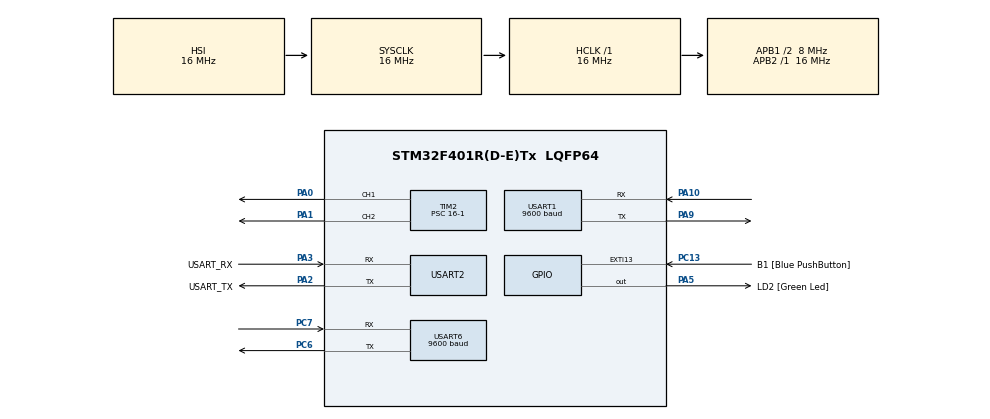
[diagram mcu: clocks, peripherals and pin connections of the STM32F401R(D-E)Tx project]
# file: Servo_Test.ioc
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Mcu.Family=STM32F4
Mcu.Name=STM32F401R(D-E)Tx
Mcu.Package=LQFP64
NVIC.PriorityGroup=NVIC_PRIORITYGROUP_0
PA0-WKUP.Signal=S_TIM2_CH1_ETR
PA1.Signal=S_TIM2_CH2
PA10.Mode=Asynchronous
PA10.Signal=USART1_RX
PA13.GPIO_Label=TMS
PA13.Mode=Serial_Wire
PA13.Signal=SYS_JTMS-SWDIO
PA14.GPIO_Label=TCK
PA14.Mode=Serial_Wire
PA14.Signal=SYS_JTCK-SWCLK
PA2.GPIO_Label=USART_TX
PA2.GPIO_Mode=GPIO_MODE_AF_PP
PA2.GPIO_PuPd=GPIO_NOPULL
PA2.GPIO_Speed=GPIO_SPEED_FREQ_LOW
PA2.Mode=Asynchronous
PA2.Signal=USART2_TX
PA3.GPIO_Label=USART_RX
PA3.GPIO_Mode=GPIO_MODE_AF_PP
PA3.GPIO_PuPd=GPIO_NOPULL
PA3.GPIO_Speed=GPIO_SPEED_FREQ_LOW
PA3.Mode=Asynchronous
PA3.Signal=USART2_RX
PA5.GPIO_Label=LD2 [Green Led]
PA5.GPIO_Mode=GPIO_MODE_OUTPUT_PP
PA5.GPIO_PuPd=GPIO_NOPULL
PA5.GPIO_Speed=GPIO_SPEED_FREQ_LOW
PA5.Signal=GPIO_Output
PA9.Mode=Asynchronous
PA9.Signal=USART1_TX
PB3.GPIO_Label=SWO
PB3.Signal=SYS_JTDO-SWO
PC13-ANTI_TAMP.GPIO_Label=B1 [Blue PushButton]
PC13-ANTI_TAMP.GPIO_ModeDefaultEXTI=GPIO_MODE_IT_FALLING
PC13-ANTI_TAMP.GPIO_PuPd=GPIO_NOPULL
PC13-ANTI_TAMP.Signal=GPXTI13
PC14-OSC32_IN.Mode=LSE-External-Oscillator
PC14-OSC32_IN.Signal=RCC_OSC32_IN
PC15-OSC32_OUT.Mode=LSE-External-Oscillator
PC15-OSC32_OUT.Signal=RCC_OSC32_OUT
PC6.Mode=Asynchronous
PC6.Signal=USART6_TX
PC7.Mode=Asynchronous
PC7.Signal=USART6_RX
PH0\ -\ OSC_IN.Mode=HSE-External-Clock-Source
PH0\ -\ OSC_IN.Signal=RCC_OSC_IN
PH1\ -\ OSC_OUT.Mode=HSE-External-Clock-Source
PH1\ -\ OSC_OUT.Signal=RCC_OSC_OUT
ProjectManager.HeapSize=0x200
ProjectManager.StackSize=0x400
ProjectManager.TargetToolchain=STM32CubeIDE
RCC.48MHZClocksFreq_Value=48000000
RCC.AHBFreq_Value=16000000
RCC.APB1CLKDivider=RCC_HCLK_DIV2
RCC.APB1Freq_Value=8000000
RCC.APB1TimFreq_Value=16000000
RCC.APB2Freq_Value=16000000
RCC.APB2TimFreq_Value=16000000
RCC.CortexFreq_Value=16000000
RCC.HCLKFreq_Value=16000000
RCC.HSE_VALUE=8000000
RCC.HSI_VALUE=16000000
RCC.PLLN=336
RCC.PLLP=RCC_PLLP_DIV4
RCC.PLLQ=7
RCC.SYSCLKFreq_VALUE=16000000
RCC.VCOOutputFreq_Value=336000000
SH.S_TIM2_CH1_ETR.0=TIM2_CH1,PWM Generation1 CH1
SH.S_TIM2_CH2.0=TIM2_CH2,PWM Generation2 CH2
TIM2.AutoReloadPreload=TIM_AUTORELOAD_PRELOAD_ENABLE
TIM2.Channel-PWM\ Generation1\ CH1=TIM_CHANNEL_1
TIM2.Channel-PWM\ Generation2\ CH2=TIM_CHANNEL_2
TIM2.Period=20000-1
TIM2.Prescaler=16-1
TIM2.Pulse-PWM\ Generation1\ CH1=500-1
TIM2.Pulse-PWM\ Generation2\ CH2=2500-1
USART1.BaudRate=9600
USART1.VirtualMode=VM_ASYNC
USART2.VirtualMode=VM_ASYNC
USART6.BaudRate=9600
USART6.VirtualMode=VM_ASYNC
VP_TIM2_VS_ClockSourceINT.Mode=Internal
board=NUCLEO-F401RE

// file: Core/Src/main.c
/* USER CODE BEGIN Header */
/**
  ******************************************************************************
  * @file           : main.c
  * @brief          : Main program body
  ******************************************************************************
  * @attention
  *
  * Copyright (c) 2022 STMicroelectronics.
  * All rights reserved.
  *
  * This software is licensed under terms that can be found in the LICENSE file
  * in the root directory of this software component.
  * If no LICENSE file comes with this software, it is provided AS-IS.
  *
  ******************************************************************************
  */
/* USER CODE END Header */
#include "main.h"

TIM_HandleTypeDef htim2;

UART_HandleTypeDef huart1;
UART_HandleTypeDef huart2;
UART_HandleTypeDef huart6;

void SystemClock_Config(void);
static void MX_GPIO_Init(void);
static void MX_USART2_UART_Init(void);
static void MX_TIM2_Init(void);
static void MX_USART1_UART_Init(void);
static void MX_USART6_UART_Init(void);

int main(void)
{

  /* MCU Configuration--------------------------------------------------------*/

  /* Reset of all peripherals, Initializes the Flash interface and the Systick. */
  HAL_Init();

  /* Configure the system clock */
  SystemClock_Config();

  /* Initialize all configured peripherals */
  MX_GPIO_Init();
  MX_USART2_UART_Init();
  MX_TIM2_Init();
  MX_USART1_UART_Init();
  MX_USART6_UART_Init();
  /* USER CODE BEGIN 2 */
  int TIM2_Ch1_DCVAL = 500;
  int TIM2_Ch2_DCVAL = 2500;

  HAL_TIM_Base_Start(&htim2);
  HAL_TIM_PWM_Start(&htim2, TIM_CHANNEL_1);
  HAL_TIM_PWM_Start(&htim2, TIM_CHANNEL_2);

  TIM2->PSC = 16-1;
  TIM2->ARR = 20000-1;
  TIM2->CCR1 = TIM2_Ch1_DCVAL;
  TIM2->CCR2 = TIM2_Ch2_DCVAL;
  /* USER CODE END 2 */

  /* Infinite loop */
  /* USER CODE BEGIN WHILE */
  while (1)
  {
	  while(TIM2_Ch1_DCVAL < 2500) {
		  TIM2_Ch1_DCVAL += (20);
		  TIM2_Ch2_DCVAL -= (20);
		  TIM2->CCR1 = TIM2_Ch1_DCVAL;
		  TIM2->CCR2 = TIM2_Ch2_DCVAL;
		  HAL_GPIO_TogglePin(GPIOA, LD2_Pin);
		  HAL_Delay(500);
	  }
	  while(TIM2_Ch1_DCVAL > 500) {
		  TIM2_Ch1_DCVAL -= (20);
		  TIM2_Ch2_DCVAL += (20);
		  TIM2->CCR1 = TIM2_Ch1_DCVAL;
		  TIM2->CCR2 = TIM2_Ch2_DCVAL;
		  HAL_GPIO_TogglePin(GPIOA, LD2_Pin);
		  HAL_Delay(500);
	  }
    /* USER CODE END WHILE */

  }
}

void SystemClock_Config(void)
{
  RCC_OscInitTypeDef RCC_OscInitStruct = {0};
  RCC_ClkInitTypeDef RCC_ClkInitStruct = {0};

  /** Configure the main internal regulator output voltage
  */
  __HAL_RCC_PWR_CLK_ENABLE();
  __HAL_PWR_VOLTAGESCALING_CONFIG(PWR_REGULATOR_VOLTAGE_SCALE2);

  /** Initializes the RCC Oscillators according to the specified parameters
  * in the RCC_OscInitTypeDef structure.
  */
  RCC_OscInitStruct.OscillatorType = RCC_OSCILLATORTYPE_HSI;
  RCC_OscInitStruct.HSIState = RCC_HSI_ON;
  RCC_OscInitStruct.HSICalibrationValue = RCC_HSICALIBRATION_DEFAULT;
  RCC_OscInitStruct.PLL.PLLState = RCC_PLL_NONE;
  if (HAL_RCC_OscConfig(&RCC_OscInitStruct) != HAL_OK)
  {
    Error_Handler();
  }

  /** Initializes the CPU, AHB and APB buses clocks
  */
  RCC_ClkInitStruct.ClockType = RCC_CLOCKTYPE_HCLK|RCC_CLOCKTYPE_SYSCLK
                              |RCC_CLOCKTYPE_PCLK1|RCC_CLOCKTYPE_PCLK2;
  RCC_ClkInitStruct.SYSCLKSource = RCC_SYSCLKSOURCE_HSI;
  RCC_ClkInitStruct.AHBCLKDivider = RCC_SYSCLK_DIV1;
  RCC_ClkInitStruct.APB1CLKDivider = RCC_HCLK_DIV2;
  RCC_ClkInitStruct.APB2CLKDivider = RCC_HCLK_DIV1;

  if (HAL_RCC_ClockConfig(&RCC_ClkInitStruct, FLASH_LATENCY_0) != HAL_OK)
  {
    Error_Handler();
  }
}

static void MX_TIM2_Init(void)
{

  TIM_ClockConfigTypeDef sClockSourceConfig = {0};
  TIM_MasterConfigTypeDef sMasterConfig = {0};
  TIM_OC_InitTypeDef sConfigOC = {0};

  htim2.Instance = TIM2;
  htim2.Init.Prescaler = 16-1;
  htim2.Init.CounterMode = TIM_COUNTERMODE_UP;
  htim2.Init.Period = 20000-1;
  htim2.Init.ClockDivision = TIM_CLOCKDIVISION_DIV1;
  htim2.Init.AutoReloadPreload = TIM_AUTORELOAD_PRELOAD_ENABLE;
  if (HAL_TIM_Base_Init(&htim2) != HAL_OK)
  {
    Error_Handler();
  }
  sClockSourceConfig.ClockSource = TIM_CLOCKSOURCE_INTERNAL;
  if (HAL_TIM_ConfigClockSource(&htim2, &sClockSourceConfig) != HAL_OK)
  {
    Error_Handler();
  }
  if (HAL_TIM_PWM_Init(&htim2) != HAL_OK)
  {
    Error_Handler();
  }
  sMasterConfig.MasterOutputTrigger = TIM_TRGO_RESET;
  sMasterConfig.MasterSlaveMode = TIM_MASTERSLAVEMODE_DISABLE;
  if (HAL_TIMEx_MasterConfigSynchronization(&htim2, &sMasterConfig) != HAL_OK)
  {
    Error_Handler();
  }
  sConfigOC.OCMode = TIM_OCMODE_PWM1;
  sConfigOC.Pulse = 500-1;
  sConfigOC.OCPolarity = TIM_OCPOLARITY_HIGH;
  sConfigOC.OCFastMode = TIM_OCFAST_DISABLE;
  if (HAL_TIM_PWM_ConfigChannel(&htim2, &sConfigOC, TIM_CHANNEL_1) != HAL_OK)
  {
    Error_Handler();
  }
  sConfigOC.Pulse = 2500-1;
  if (HAL_TIM_PWM_ConfigChannel(&htim2, &sConfigOC, TIM_CHANNEL_2) != HAL_OK)
  {
    Error_Handler();
  }
  HAL_TIM_MspPostInit(&htim2);

}

static void MX_USART1_UART_Init(void)
{

  huart1.Instance = USART1;
  huart1.Init.BaudRate = 9600;
  huart1.Init.WordLength = UART_WORDLENGTH_8B;
  huart1.Init.StopBits = UART_STOPBITS_1;
  huart1.Init.Parity = UART_PARITY_NONE;
  huart1.Init.Mode = UART_MODE_TX_RX;
  huart1.Init.HwFlowCtl = UART_HWCONTROL_NONE;
  huart1.Init.OverSampling = UART_OVERSAMPLING_16;
  if (HAL_UART_Init(&huart1) != HAL_OK)
  {
    Error_Handler();
  }

}

static void MX_USART2_UART_Init(void)
{

  huart2.Instance = USART2;
  huart2.Init.BaudRate = 115200;
  huart2.Init.WordLength = UART_WORDLENGTH_8B;
  huart2.Init.StopBits = UART_STOPBITS_1;
  huart2.Init.Parity = UART_PARITY_NONE;
  huart2.Init.Mode = UART_MODE_TX_RX;
  huart2.Init.HwFlowCtl = UART_HWCONTROL_NONE;
  huart2.Init.OverSampling = UART_OVERSAMPLING_16;
  if (HAL_UART_Init(&huart2) != HAL_OK)
  {
    Error_Handler();
  }

}

static void MX_USART6_UART_Init(void)
{

  huart6.Instance = USART6;
  huart6.Init.BaudRate = 9600;
  huart6.Init.WordLength = UART_WORDLENGTH_8B;
  huart6.Init.StopBits = UART_STOPBITS_1;
  huart6.Init.Parity = UART_PARITY_NONE;
  huart6.Init.Mode = UART_MODE_TX_RX;
  huart6.Init.HwFlowCtl = UART_HWCONTROL_NONE;
  huart6.Init.OverSampling = UART_OVERSAMPLING_16;
  if (HAL_UART_Init(&huart6) != HAL_OK)
  {
    Error_Handler();
  }

}

static void MX_GPIO_Init(void)
{
  GPIO_InitTypeDef GPIO_InitStruct = {0};

  /* GPIO Ports Clock Enable */
  __HAL_RCC_GPIOC_CLK_ENABLE();
  __HAL_RCC_GPIOH_CLK_ENABLE();
  __HAL_RCC_GPIOA_CLK_ENABLE();
  __HAL_RCC_GPIOB_CLK_ENABLE();

  /*Configure GPIO pin Output Level */
  HAL_GPIO_WritePin(LD2_GPIO_Port, LD2_Pin, GPIO_PIN_RESET);

  /*Configure GPIO pin : B1_Pin */
  GPIO_InitStruct.Pin = B1_Pin;
  GPIO_InitStruct.Mode = GPIO_MODE_IT_FALLING;
  GPIO_InitStruct.Pull = GPIO_NOPULL;
  HAL_GPIO_Init(B1_GPIO_Port, &GPIO_InitStruct);

  /*Configure GPIO pin : LD2_Pin */
  GPIO_InitStruct.Pin = LD2_Pin;
  GPIO_InitStruct.Mode = GPIO_MODE_OUTPUT_PP;
  GPIO_InitStruct.Pull = GPIO_NOPULL;
  GPIO_InitStruct.Speed = GPIO_SPEED_FREQ_LOW;
  HAL_GPIO_Init(LD2_GPIO_Port, &GPIO_InitStruct);

}

void Error_Handler(void)
{
  __disable_irq();
  while (1)
  {
  }
}
